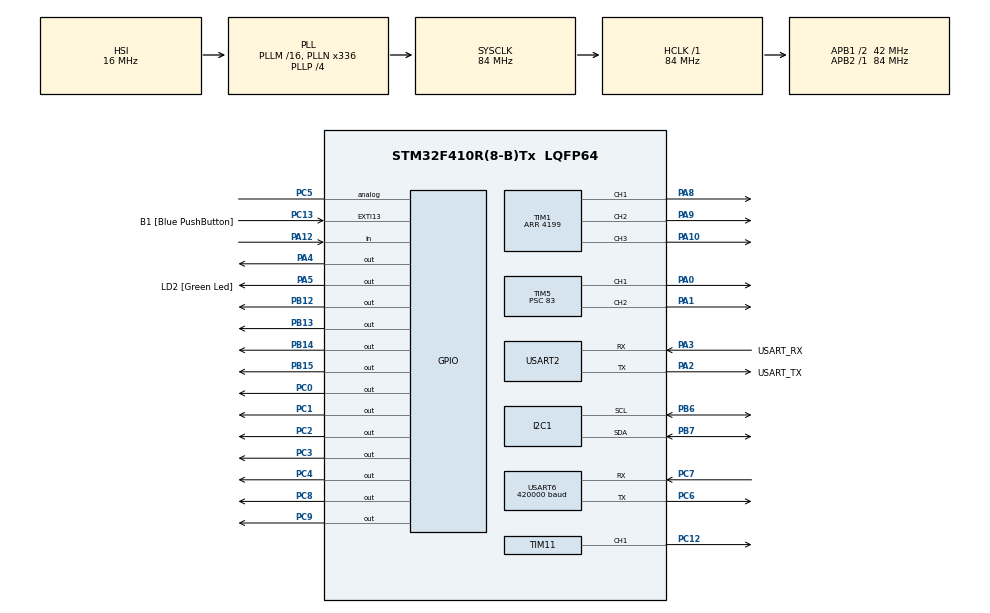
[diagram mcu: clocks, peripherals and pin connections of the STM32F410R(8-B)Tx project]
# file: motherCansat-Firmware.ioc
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Mcu.Family=STM32F4
Mcu.Name=STM32F410R(8-B)Tx
Mcu.Package=LQFP64
NVIC.PriorityGroup=NVIC_PRIORITYGROUP_0
PA0-WKUP.Signal=S_TIM5_CH1
PA1.Signal=S_TIM5_CH2
PA10.Signal=S_TIM1_CH3
PA12.Signal=GPIO_Input
PA13.GPIO_Label=TMS
PA13.Mode=Serial_Wire
PA13.Signal=SYS_JTMS-SWDIO
PA14.GPIO_Label=TCK
PA14.Mode=Serial_Wire
PA14.Signal=SYS_JTCK-SWCLK
PA2.GPIO_Label=USART_TX
PA2.Mode=Asynchronous
PA2.Signal=USART2_TX
PA3.GPIO_Label=USART_RX
PA3.Mode=Asynchronous
PA3.Signal=USART2_RX
PA4.Signal=GPIO_Output
PA5.GPIO_Label=LD2 [Green Led]
PA5.Signal=GPIO_Output
PA8.Signal=S_TIM1_CH1
PA9.Signal=S_TIM1_CH2
PB12.Signal=GPIO_Output
PB13.Signal=GPIO_Output
PB14.Signal=GPIO_Output
PB15.Signal=GPIO_Output
PB3.GPIO_Label=SWO
PB3.Signal=SYS_JTDO-SWO
PB6.Mode=I2C
PB6.Signal=I2C1_SCL
PB7.Mode=I2C
PB7.Signal=I2C1_SDA
PC0.Signal=GPIO_Output
PC1.Signal=GPIO_Output
PC12.Signal=S_TIM11_CH1
PC13-ANTI_TAMP.GPIO_Label=B1 [Blue PushButton]
PC13-ANTI_TAMP.GPIO_ModeDefaultEXTI=GPIO_MODE_IT_FALLING
PC13-ANTI_TAMP.Signal=GPXTI13
PC14-OSC32_IN.Mode=LSE-External-Oscillator
PC14-OSC32_IN.Signal=RCC_OSC32_IN
PC15-OSC32_OUT.Mode=LSE-External-Oscillator
PC15-OSC32_OUT.Signal=RCC_OSC32_OUT
PC2.Signal=GPIO_Output
PC3.Signal=GPIO_Output
PC4.Signal=GPIO_Output
PC5.Signal=GPIO_Analog
PC6.Mode=Asynchronous
PC6.Signal=USART6_TX
PC7.Mode=Asynchronous
PC7.Signal=USART6_RX
PC8.Signal=GPIO_Output
PC9.Signal=GPIO_Output
PH0\ -\ OSC_IN.Mode=HSE-External-Clock-Source
PH0\ -\ OSC_IN.Signal=RCC_OSC_IN
PH1\ -\ OSC_OUT.Mode=HSE-External-Clock-Source
PH1\ -\ OSC_OUT.Signal=RCC_OSC_OUT
ProjectManager.HeapSize=0x200
ProjectManager.StackSize=0x400
ProjectManager.TargetToolchain=EWARM V8.50
RCC.48MHZClocksFreq_Value=84000000
RCC.AHBFreq_Value=84000000
RCC.APB1CLKDivider=RCC_HCLK_DIV2
RCC.APB1Freq_Value=42000000
RCC.APB1TimFreq_Value=84000000
RCC.APB2Freq_Value=84000000
RCC.APB2TimFreq_Value=84000000
RCC.CortexFreq_Value=84000000
RCC.FLatency-AdvancedSettings=FLASH_LATENCY_2
RCC.HCLKFreq_Value=84000000
RCC.HSE_VALUE=8000000
RCC.HSI_VALUE=16000000
RCC.PLLN=336
RCC.PLLP=RCC_PLLP_DIV4
RCC.SYSCLKFreq_VALUE=84000000
RCC.SYSCLKSource=RCC_SYSCLKSOURCE_PLLCLK
RCC.VCOOutputFreq_Value=336000000
SH.S_TIM11_CH1.0=TIM11_CH1,PWM Generation1 CH1
SH.S_TIM1_CH1.0=TIM1_CH1,PWM Generation1 CH1
SH.S_TIM1_CH2.0=TIM1_CH2,PWM Generation2 CH2
SH.S_TIM1_CH3.0=TIM1_CH3,PWM Generation3 CH3
SH.S_TIM5_CH1.0=TIM5_CH1,PWM Generation1 CH1
SH.S_TIM5_CH2.0=TIM5_CH2,PWM Generation2 CH2
TIM1.Channel-PWM\ Generation1\ CH1=TIM_CHANNEL_1
TIM1.Channel-PWM\ Generation2\ CH2=TIM_CHANNEL_2
TIM1.Channel-PWM\ Generation3\ CH3=TIM_CHANNEL_3
TIM1.Period=4199
TIM11.Channel=TIM_CHANNEL_1
TIM11.Period=19999
TIM11.Prescaler=83
TIM11.Pulse=1500
TIM5.Channel-PWM\ Generation1\ CH1=TIM_CHANNEL_1
TIM5.Channel-PWM\ Generation2\ CH2=TIM_CHANNEL_2
TIM5.Period=19999
TIM5.Prescaler=83
TIM5.Pulse-PWM\ Generation1\ CH1=1500
TIM5.Pulse-PWM\ Generation2\ CH2=1500
USART2.VirtualMode=VM_ASYNC
USART6.BaudRate=420000
USART6.VirtualMode=VM_ASYNC
VP_TIM11_VS_ClockSourceINT.Mode=Enable_Timer
VP_TIM1_VS_ClockSourceINT.Mode=Internal
VP_TIM5_VS_ClockSourceINT.Mode=Internal
board=NUCLEO-F410RB

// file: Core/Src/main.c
/* USER CODE BEGIN Header */
/**
  ******************************************************************************
  * @file           : main.c
  * @brief          : Main program body
  ******************************************************************************
  * @attention
  *
  * Copyright (c) 2026 STMicroelectronics.
  * All rights reserved.
  *
  * This software is licensed under terms that can be found in the LICENSE file
  * in the root directory of this software component.
  * If no LICENSE file comes with this software, it is provided AS-IS.
  *
  ******************************************************************************
  */
/* USER CODE END Header */
#include "main.h"

/* USER CODE BEGIN Includes */
#include <stdio.h>
#include "imu/imu.h"
#include "crsf/crsf.h"
#include "crsf/crsf_telemetry.h"
#include "drop/drop_detect.h"
#include "reaction_wheel/reaction_wheel.h"
#include "wheel_motor/wheel_motor.h"
#include "door/door.h"
#include "wings/wings.h"
#include "soft_pwm/soft_pwm.h"
#include "elevon/elevon.h"
#include "gps/gps.h"
#include "nav/nav.h"
#include "landing/landing_detect.h"
#include "indicator/indicator.h"
#include "mission/mission.h"
/* USER CODE END Includes */

/* USER CODE BEGIN PD */
#define IMU_PERIOD_MS    10u    /* 100 Hz sensor loop */
#define DEBUG_PERIOD_MS  200u
/* USER CODE END PD */

I2C_HandleTypeDef hi2c1;

TIM_HandleTypeDef htim1;
TIM_HandleTypeDef htim5;
TIM_HandleTypeDef htim11;

UART_HandleTypeDef huart2;
UART_HandleTypeDef huart6;

/* USER CODE BEGIN PV */
static Imu        imu;
static DropDetect drop;
static ReactionWheel rw;
static Mission    mission;
static Elevon     elevon;
static Gps        gps;
static Nav        nav;
static LandingDetect landing;
static CrsfTelemetryData tlm;
/* USER CODE END PV */

void SystemClock_Config(void);
static void MX_GPIO_Init(void);
static void MX_I2C1_Init(void);
static void MX_TIM1_Init(void);
static void MX_TIM5_Init(void);
static void MX_USART2_UART_Init(void);
static void MX_USART6_UART_Init(void);
static void MX_TIM11_Init(void);

int main(void)
{

  /* MCU Configuration--------------------------------------------------------*/

  /* Reset of all peripherals, Initializes the Flash interface and the Systick. */
  HAL_Init();

  /* Configure the system clock */
  SystemClock_Config();

  /* Initialize all configured peripherals */
  MX_GPIO_Init();
  MX_I2C1_Init();
  MX_TIM1_Init();
  MX_TIM5_Init();
  MX_USART2_UART_Init();
  MX_USART6_UART_Init();
  MX_TIM11_Init();
  /* USER CODE BEGIN 2 */
  uint8_t imuCount = imu_init(&imu, &hi2c1);
  imu_calibrate_gyro(&imu, 1000);      /* keep the board still for 1 s at boot */
  crsf_init(&huart6);
  drop_init(&drop);
  wheel_motor_init(&htim1);
  door_init(&htim5);
  wings_init(&htim5);
  soft_pwm_init(&htim5);     /* PC8/PC9 elevon servos, driven from TIM5 interrupts */
  elevon_init(&elevon);
  gps_init(&gps, &hi2c1);
  nav_init(&nav);
  landing_init(&landing);
  rw_init(&rw, wheel_motor_set);
  mission_init(&mission);

  char msg[192];
  int n = snprintf(msg, sizeof(msg), "boot: %u IMU(s) ok\r\n", imuCount);
  HAL_UART_Transmit(&huart2, (uint8_t *)msg, (uint16_t)n, 50);

  uint32_t nextImuMs = HAL_GetTick();
  uint32_t nextDebugMs = nextImuMs;
  /* USER CODE END 2 */

  /* Infinite loop */
  while (1)
  {

    /* USER CODE BEGIN 3 */
    uint32_t now = HAL_GetTick();
    gps_poll(&gps, now);
    crsf_telemetry_update(&tlm, now);
    indicator_update(drop_is_dropping(&drop), landing_is_landed(&landing), now);

    if ((int32_t)(now - nextImuMs) >= 0) {
      nextImuMs += IMU_PERIOD_MS;
      if (imu_update(&imu, now)) {
        drop_update(&drop, imu.accelMag, crsf_aux1_on(now), now);
        mission_update(&mission, &rw, drop_is_dropping(&drop),
                       imu.yawDeg, imu.fused.gz, now);
        rw_update(&rw, imu.yawDeg, IMU_PERIOD_MS * 0.001f);

        /* home = GPS position where the drop was detected */
        if (!drop_is_dropping(&drop)) nav_clear_home(&nav);
        else if (!nav.homeSet && gps_has_fix(&gps, now)) nav_set_home(&nav, gps.lat, gps.lon);
        nav_update(&nav, &gps, imu.fused.gz, IMU_PERIOD_MS * 0.001f, now);

        elevon_update(&elevon, imu.rollDeg, imu.pitchDeg, nav.rollTargetDeg,
                      IMU_PERIOD_MS * 0.001f, now, wings_are_ejected());
      }
      landing_update(&landing, drop_is_dropping(&drop), imu.accelMag,
                     imu.fused.gx, imu.fused.gy, imu.fused.gz,
                     gps_has_fix(&gps, now), gps.speedMs, now);

      /* snapshot for the CRSF telemetry downlink */
      tlm.rollDeg = imu.rollDeg;  tlm.pitchDeg = imu.pitchDeg;  tlm.yawDeg = imu.yawDeg;
      tlm.lat = gps.lat;  tlm.lon = gps.lon;  tlm.altM = gps.altM;
      tlm.speedMs = gps.speedMs;  tlm.courseDeg = gps.courseDeg;  tlm.satellites = gps.satellites;
      tlm.missionState = (uint8_t)mission.state;  tlm.missionName = mission_state_name(mission.state);
      tlm.elevonMode = (uint8_t)elevon.mode;      tlm.elevonName = elevon_mode_name(elevon.mode);
      tlm.flags = (uint8_t)((drop_is_dropping(&drop) ? CRSF_TLM_FLAG_DROPPING : 0) |
                            (landing_is_landed(&landing) ? CRSF_TLM_FLAG_LANDED : 0) |
                            (wings_are_ejected() ? CRSF_TLM_FLAG_WINGS : 0) |
                            (door_is_open() ? CRSF_TLM_FLAG_DOOR : 0) |
                            (gps_has_fix(&gps, now) ? CRSF_TLM_FLAG_GPS_FIX : 0) |
                            (crsf_aux1_on(now) ? CRSF_TLM_FLAG_AUX1 : 0) |
                            (imu.disagree ? CRSF_TLM_FLAG_IMU_DISAGREE : 0) |
                            (nav.active ? CRSF_TLM_FLAG_NAV_ACTIVE : 0));
      tlm.imuCount = imu_sensor_count(&imu);
      tlm.accelMag = imu.accelMag;  tlm.yawRateDps = imu.fused.gz;
      tlm.wheelCmd = rw.command;    tlm.rollTargetDeg = nav.rollTargetDeg;
      tlm.navDistM = nav.distM;     tlm.desiredCourseDeg = nav.desiredCourseDeg;
      tlm.leftUs = elevon.leftUs;   tlm.rightUs = elevon.rightUs;
    }

    if ((int32_t)(now - nextDebugMs) >= 0) {
      nextDebugMs += DEBUG_PERIOD_MS;
      int len = snprintf(msg, sizeof(msg),
                         "acc=%.2f yaw=%.1f imu=%u aux1=%u(%u) drop=%u mis=%s ev=%s r=%.0f p=%.0f gps=%u/%u nav=%u d=%.0f land=%u\r\n",
                         (double)imu.accelMag, (double)imu.yawDeg,
                         imu_sensor_count(&imu), crsf_aux1_on(now),
                         crsf_get_channel(CRSF_AUX1_CHANNEL), drop_is_dropping(&drop),
                         mission_state_name(mission.state), elevon_mode_name(elevon.mode),
                         (double)imu.rollDeg, (double)imu.pitchDeg,
                         gps_has_fix(&gps, now), gps.satellites, nav.active, (double)nav.distM, landing_is_landed(&landing));
      if (len > (int)sizeof(msg) - 1) len = (int)sizeof(msg) - 1;
      HAL_UART_Transmit(&huart2, (uint8_t *)msg, (uint16_t)len, 50);
    }
  }
  /* USER CODE END 3 */
}

void SystemClock_Config(void)
{
  RCC_OscInitTypeDef RCC_OscInitStruct = {0};
  RCC_ClkInitTypeDef RCC_ClkInitStruct = {0};

  /** Configure the main internal regulator output voltage
  */
  __HAL_RCC_PWR_CLK_ENABLE();
  __HAL_PWR_VOLTAGESCALING_CONFIG(PWR_REGULATOR_VOLTAGE_SCALE1);

  /** Initializes the RCC Oscillators according to the specified parameters
  * in the RCC_OscInitTypeDef structure.
  */
  RCC_OscInitStruct.OscillatorType = RCC_OSCILLATORTYPE_HSI;
  RCC_OscInitStruct.HSIState = RCC_HSI_ON;
  RCC_OscInitStruct.HSICalibrationValue = RCC_HSICALIBRATION_DEFAULT;
  RCC_OscInitStruct.PLL.PLLState = RCC_PLL_ON;
  RCC_OscInitStruct.PLL.PLLSource = RCC_PLLSOURCE_HSI;
  RCC_OscInitStruct.PLL.PLLM = 16;
  RCC_OscInitStruct.PLL.PLLN = 336;
  RCC_OscInitStruct.PLL.PLLP = RCC_PLLP_DIV4;
  RCC_OscInitStruct.PLL.PLLQ = 4;
  RCC_OscInitStruct.PLL.PLLR = 2;
  if (HAL_RCC_OscConfig(&RCC_OscInitStruct) != HAL_OK)
  {
    Error_Handler();
  }

  /** Initializes the CPU, AHB and APB buses clocks
  */
  RCC_ClkInitStruct.ClockType = RCC_CLOCKTYPE_HCLK|RCC_CLOCKTYPE_SYSCLK
                              |RCC_CLOCKTYPE_PCLK1|RCC_CLOCKTYPE_PCLK2;
  RCC_ClkInitStruct.SYSCLKSource = RCC_SYSCLKSOURCE_PLLCLK;
  RCC_ClkInitStruct.AHBCLKDivider = RCC_SYSCLK_DIV1;
  RCC_ClkInitStruct.APB1CLKDivider = RCC_HCLK_DIV2;
  RCC_ClkInitStruct.APB2CLKDivider = RCC_HCLK_DIV1;

  if (HAL_RCC_ClockConfig(&RCC_ClkInitStruct, FLASH_LATENCY_2) != HAL_OK)
  {
    Error_Handler();
  }
}

static void MX_I2C1_Init(void)
{

  hi2c1.Instance = I2C1;
  hi2c1.Init.ClockSpeed = 100000;
  hi2c1.Init.DutyCycle = I2C_DUTYCYCLE_2;
  hi2c1.Init.OwnAddress1 = 0;
  hi2c1.Init.AddressingMode = I2C_ADDRESSINGMODE_7BIT;
  hi2c1.Init.DualAddressMode = I2C_DUALADDRESS_DISABLE;
  hi2c1.Init.OwnAddress2 = 0;
  hi2c1.Init.GeneralCallMode = I2C_GENERALCALL_DISABLE;
  hi2c1.Init.NoStretchMode = I2C_NOSTRETCH_DISABLE;
  if (HAL_I2C_Init(&hi2c1) != HAL_OK)
  {
    Error_Handler();
  }

}

static void MX_TIM1_Init(void)
{

  TIM_ClockConfigTypeDef sClockSourceConfig = {0};
  TIM_MasterConfigTypeDef sMasterConfig = {0};
  TIM_OC_InitTypeDef sConfigOC = {0};
  TIM_BreakDeadTimeConfigTypeDef sBreakDeadTimeConfig = {0};

  htim1.Instance = TIM1;
  htim1.Init.Prescaler = 0;
  htim1.Init.CounterMode = TIM_COUNTERMODE_UP;
  htim1.Init.Period = 4199;
  htim1.Init.ClockDivision = TIM_CLOCKDIVISION_DIV1;
  htim1.Init.RepetitionCounter = 0;
  htim1.Init.AutoReloadPreload = TIM_AUTORELOAD_PRELOAD_DISABLE;
  if (HAL_TIM_Base_Init(&htim1) != HAL_OK)
  {
    Error_Handler();
  }
  sClockSourceConfig.ClockSource = TIM_CLOCKSOURCE_INTERNAL;
  if (HAL_TIM_ConfigClockSource(&htim1, &sClockSourceConfig) != HAL_OK)
  {
    Error_Handler();
  }
  if (HAL_TIM_PWM_Init(&htim1) != HAL_OK)
  {
    Error_Handler();
  }
  sMasterConfig.MasterOutputTrigger = TIM_TRGO_RESET;
  sMasterConfig.MasterSlaveMode = TIM_MASTERSLAVEMODE_DISABLE;
  if (HAL_TIMEx_MasterConfigSynchronization(&htim1, &sMasterConfig) != HAL_OK)
  {
    Error_Handler();
  }
  sConfigOC.OCMode = TIM_OCMODE_PWM1;
  sConfigOC.Pulse = 0;
  sConfigOC.OCPolarity = TIM_OCPOLARITY_HIGH;
  sConfigOC.OCNPolarity = TIM_OCNPOLARITY_HIGH;
  sConfigOC.OCFastMode = TIM_OCFAST_DISABLE;
  sConfigOC.OCIdleState = TIM_OCIDLESTATE_RESET;
  sConfigOC.OCNIdleState = TIM_OCNIDLESTATE_RESET;
  if (HAL_TIM_PWM_ConfigChannel(&htim1, &sConfigOC, TIM_CHANNEL_1) != HAL_OK)
  {
    Error_Handler();
  }
  if (HAL_TIM_PWM_ConfigChannel(&htim1, &sConfigOC, TIM_CHANNEL_2) != HAL_OK)
  {
    Error_Handler();
  }
  if (HAL_TIM_PWM_ConfigChannel(&htim1, &sConfigOC, TIM_CHANNEL_3) != HAL_OK)
  {
    Error_Handler();
  }
  sBreakDeadTimeConfig.OffStateRunMode = TIM_OSSR_DISABLE;
  sBreakDeadTimeConfig.OffStateIDLEMode = TIM_OSSI_DISABLE;
  sBreakDeadTimeConfig.LockLevel = TIM_LOCKLEVEL_OFF;
  sBreakDeadTimeConfig.DeadTime = 0;
  sBreakDeadTimeConfig.BreakState = TIM_BREAK_DISABLE;
  sBreakDeadTimeConfig.BreakPolarity = TIM_BREAKPOLARITY_HIGH;
  sBreakDeadTimeConfig.AutomaticOutput = TIM_AUTOMATICOUTPUT_DISABLE;
  if (HAL_TIMEx_ConfigBreakDeadTime(&htim1, &sBreakDeadTimeConfig) != HAL_OK)
  {
    Error_Handler();
  }
  HAL_TIM_MspPostInit(&htim1);

}

static void MX_TIM5_Init(void)
{

  TIM_ClockConfigTypeDef sClockSourceConfig = {0};
  TIM_MasterConfigTypeDef sMasterConfig = {0};
  TIM_OC_InitTypeDef sConfigOC = {0};

  htim5.Instance = TIM5;
  htim5.Init.Prescaler = 83;
  htim5.Init.CounterMode = TIM_COUNTERMODE_UP;
  htim5.Init.Period = 19999;
  htim5.Init.ClockDivision = TIM_CLOCKDIVISION_DIV1;
  htim5.Init.AutoReloadPreload = TIM_AUTORELOAD_PRELOAD_DISABLE;
  if (HAL_TIM_Base_Init(&htim5) != HAL_OK)
  {
    Error_Handler();
  }
  sClockSourceConfig.ClockSource = TIM_CLOCKSOURCE_INTERNAL;
  if (HAL_TIM_ConfigClockSource(&htim5, &sClockSourceConfig) != HAL_OK)
  {
    Error_Handler();
  }
  if (HAL_TIM_PWM_Init(&htim5) != HAL_OK)
  {
    Error_Handler();
  }
  sMasterConfig.MasterOutputTrigger = TIM_TRGO_RESET;
  sMasterConfig.MasterSlaveMode = TIM_MASTERSLAVEMODE_DISABLE;
  if (HAL_TIMEx_MasterConfigSynchronization(&htim5, &sMasterConfig) != HAL_OK)
  {
    Error_Handler();
  }
  sConfigOC.OCMode = TIM_OCMODE_PWM1;
  sConfigOC.Pulse = 1500;
  sConfigOC.OCPolarity = TIM_OCPOLARITY_HIGH;
  sConfigOC.OCFastMode = TIM_OCFAST_DISABLE;
  if (HAL_TIM_PWM_ConfigChannel(&htim5, &sConfigOC, TIM_CHANNEL_1) != HAL_OK)
  {
    Error_Handler();
  }
  if (HAL_TIM_PWM_ConfigChannel(&htim5, &sConfigOC, TIM_CHANNEL_2) != HAL_OK)
  {
    Error_Handler();
  }
  HAL_TIM_MspPostInit(&htim5);

}

static void MX_TIM11_Init(void)
{

  TIM_OC_InitTypeDef sConfigOC = {0};

  htim11.Instance = TIM11;
  htim11.Init.Prescaler = 83;
  htim11.Init.CounterMode = TIM_COUNTERMODE_UP;
  htim11.Init.Period = 19999;
  htim11.Init.ClockDivision = TIM_CLOCKDIVISION_DIV1;
  htim11.Init.AutoReloadPreload = TIM_AUTORELOAD_PRELOAD_DISABLE;
  if (HAL_TIM_Base_Init(&htim11) != HAL_OK)
  {
    Error_Handler();
  }
  if (HAL_TIM_PWM_Init(&htim11) != HAL_OK)
  {
    Error_Handler();
  }
  sConfigOC.OCMode = TIM_OCMODE_PWM1;
  sConfigOC.Pulse = 1500;
  sConfigOC.OCPolarity = TIM_OCPOLARITY_HIGH;
  sConfigOC.OCFastMode = TIM_OCFAST_DISABLE;
  if (HAL_TIM_PWM_ConfigChannel(&htim11, &sConfigOC, TIM_CHANNEL_1) != HAL_OK)
  {
    Error_Handler();
  }
  HAL_TIM_MspPostInit(&htim11);

}

static void MX_USART2_UART_Init(void)
{

  huart2.Instance = USART2;
  huart2.Init.BaudRate = 115200;
  huart2.Init.WordLength = UART_WORDLENGTH_8B;
  huart2.Init.StopBits = UART_STOPBITS_1;
  huart2.Init.Parity = UART_PARITY_NONE;
  huart2.Init.Mode = UART_MODE_TX_RX;
  huart2.Init.HwFlowCtl = UART_HWCONTROL_NONE;
  huart2.Init.OverSampling = UART_OVERSAMPLING_16;
  if (HAL_UART_Init(&huart2) != HAL_OK)
  {
    Error_Handler();
  }

}

static void MX_USART6_UART_Init(void)
{

  huart6.Instance = USART6;
  huart6.Init.BaudRate = 420000;
  huart6.Init.WordLength = UART_WORDLENGTH_8B;
  huart6.Init.StopBits = UART_STOPBITS_1;
  huart6.Init.Parity = UART_PARITY_NONE;
  huart6.Init.Mode = UART_MODE_TX_RX;
  huart6.Init.HwFlowCtl = UART_HWCONTROL_NONE;
  huart6.Init.OverSampling = UART_OVERSAMPLING_16;
  if (HAL_UART_Init(&huart6) != HAL_OK)
  {
    Error_Handler();
  }

}

static void MX_GPIO_Init(void)
{
  GPIO_InitTypeDef GPIO_InitStruct = {0};

  /* GPIO Ports Clock Enable */
  __HAL_RCC_GPIOC_CLK_ENABLE();
  __HAL_RCC_GPIOH_CLK_ENABLE();
  __HAL_RCC_GPIOA_CLK_ENABLE();
  __HAL_RCC_GPIOB_CLK_ENABLE();

  /*Configure GPIO pin Output Level */
  HAL_GPIO_WritePin(GPIOC, GPIO_PIN_0|GPIO_PIN_1|GPIO_PIN_2|GPIO_PIN_3
                          |GPIO_PIN_4|GPIO_PIN_8|GPIO_PIN_9, GPIO_PIN_RESET);

  /*Configure GPIO pin Output Level */
  HAL_GPIO_WritePin(GPIOA, GPIO_PIN_4|LD2_Pin, GPIO_PIN_RESET);

  /*Configure GPIO pin Output Level */
  HAL_GPIO_WritePin(GPIOB, GPIO_PIN_12|GPIO_PIN_13|GPIO_PIN_14|GPIO_PIN_15, GPIO_PIN_RESET);

  /*Configure GPIO pin : B1_Pin */
  GPIO_InitStruct.Pin = B1_Pin;
  GPIO_InitStruct.Mode = GPIO_MODE_IT_FALLING;
  GPIO_InitStruct.Pull = GPIO_NOPULL;
  HAL_GPIO_Init(B1_GPIO_Port, &GPIO_InitStruct);

  /*Configure GPIO pins : PC0 PC1 PC2 PC3
                           PC4 PC8 PC9 */
  GPIO_InitStruct.Pin = GPIO_PIN_0|GPIO_PIN_1|GPIO_PIN_2|GPIO_PIN_3
                          |GPIO_PIN_4|GPIO_PIN_8|GPIO_PIN_9;
  GPIO_InitStruct.Mode = GPIO_MODE_OUTPUT_PP;
  GPIO_InitStruct.Pull = GPIO_NOPULL;
  GPIO_InitStruct.Speed = GPIO_SPEED_FREQ_LOW;
  HAL_GPIO_Init(GPIOC, &GPIO_InitStruct);

  /*Configure GPIO pins : PA4 LD2_Pin */
  GPIO_InitStruct.Pin = GPIO_PIN_4|LD2_Pin;
  GPIO_InitStruct.Mode = GPIO_MODE_OUTPUT_PP;
  GPIO_InitStruct.Pull = GPIO_NOPULL;
  GPIO_InitStruct.Speed = GPIO_SPEED_FREQ_LOW;
  HAL_GPIO_Init(GPIOA, &GPIO_InitStruct);

  /*Configure GPIO pin : PC5 */
  GPIO_InitStruct.Pin = GPIO_PIN_5;
  GPIO_InitStruct.Mode = GPIO_MODE_ANALOG;
  GPIO_InitStruct.Pull = GPIO_NOPULL;
  HAL_GPIO_Init(GPIOC, &GPIO_InitStruct);

  /*Configure GPIO pins : PB12 PB13 PB14 PB15 */
  GPIO_InitStruct.Pin = GPIO_PIN_12|GPIO_PIN_13|GPIO_PIN_14|GPIO_PIN_15;
  GPIO_InitStruct.Mode = GPIO_MODE_OUTPUT_PP;
  GPIO_InitStruct.Pull = GPIO_NOPULL;
  GPIO_InitStruct.Speed = GPIO_SPEED_FREQ_LOW;
  HAL_GPIO_Init(GPIOB, &GPIO_InitStruct);

  /*Configure GPIO pin : PA12 */
  GPIO_InitStruct.Pin = GPIO_PIN_12;
  GPIO_InitStruct.Mode = GPIO_MODE_INPUT;
  GPIO_InitStruct.Pull = GPIO_NOPULL;
  HAL_GPIO_Init(GPIOA, &GPIO_InitStruct);

}

void Error_Handler(void)
{
  __disable_irq();
  while (1)
  {
  }
}
